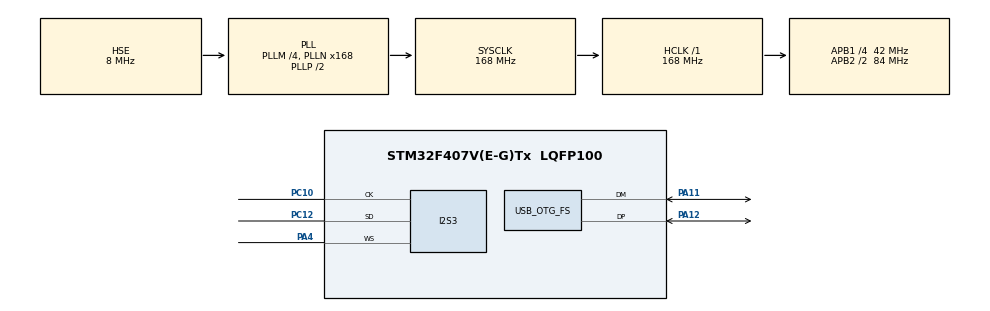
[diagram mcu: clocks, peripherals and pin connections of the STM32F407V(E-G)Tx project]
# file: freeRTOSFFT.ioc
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Dma.Request0=SPI3_RX
Dma.SPI3_RX.0.Direction=DMA_PERIPH_TO_MEMORY
Dma.SPI3_RX.0.FIFOMode=DMA_FIFOMODE_DISABLE
Dma.SPI3_RX.0.Instance=DMA1_Stream0
Dma.SPI3_RX.0.MemDataAlignment=DMA_MDATAALIGN_WORD
Dma.SPI3_RX.0.MemInc=DMA_MINC_ENABLE
Dma.SPI3_RX.0.Mode=DMA_CIRCULAR
Dma.SPI3_RX.0.PeriphDataAlignment=DMA_PDATAALIGN_WORD
Dma.SPI3_RX.0.PeriphInc=DMA_PINC_DISABLE
Dma.SPI3_RX.0.Priority=DMA_PRIORITY_LOW
FREERTOS.HEAP_NUMBER=4
FREERTOS.Queues01=datasetFlow,1024,float32_t,0,Dynamic,NULL,NULL
FREERTOS.Tasks01=dataSend,24,128,StartDataSend,Default,NULL,Dynamic,NULL,NULL;procFFT,24,1024,StartFFT,Default,NULL,Dynamic,NULL,NULL;dataGet,24,1024,StartGet,Default,NULL,Dynamic,NULL,NULL
FREERTOS.configENABLE_FPU=1
FREERTOS.configTICK_RATE_HZ=100
FREERTOS.configTOTAL_HEAP_SIZE=64000
FREERTOS.configUSE_NEWLIB_REENTRANT=1
FREERTOS.configUSE_PREEMPTION=0
I2S3.AudioFreq=I2S_AUDIOFREQ_32K
I2S3.DataFormat=I2S_DATAFORMAT_24B
I2S3.ErrorAudioFreq=1.72 %
I2S3.FullDuplexMode=I2S_FULLDUPLEXMODE_DISABLE
I2S3.Instance=SPI$Index
I2S3.Mode=I2S_MODE_MASTER_RX
I2S3.RealAudioFreq=32.552 KHz
I2S3.VirtualMode=I2S_MODE_MASTER
Mcu.Family=STM32F4
Mcu.Name=STM32F407V(E-G)Tx
Mcu.Package=LQFP100
NVIC.DMA1_Stream0_IRQn=true\:5\:0\:false\:false\:true\:true\:true\:true\:true
NVIC.OTG_FS_IRQn=true\:5\:0\:false\:false\:true\:true\:false\:true\:true
NVIC.PriorityGroup=NVIC_PRIORITYGROUP_4
NVIC.TIM1_UP_TIM10_IRQn=true\:15\:0\:false\:false\:true\:false\:false\:true\:true
NVIC.TimeBase=TIM1_UP_TIM10_IRQn
NVIC.TimeBaseIP=TIM1
PA11.Mode=Device_Only
PA11.Signal=USB_OTG_FS_DM
PA12.Mode=Device_Only
PA12.Signal=USB_OTG_FS_DP
PA4.Mode=Half_Duplex_Master
PA4.Signal=I2S3_WS
PC10.Mode=Half_Duplex_Master
PC10.Signal=I2S3_CK
PC12.Mode=Half_Duplex_Master
PC12.Signal=I2S3_SD
PH0-OSC_IN.Mode=HSE-External-Oscillator
PH0-OSC_IN.Signal=RCC_OSC_IN
PH1-OSC_OUT.Mode=HSE-External-Oscillator
PH1-OSC_OUT.Signal=RCC_OSC_OUT
ProjectManager.HeapSize=0x200
ProjectManager.StackSize=0x400
ProjectManager.TargetToolchain=STM32CubeIDE
RCC.48MHZClocksFreq_Value=48000000
RCC.AHBFreq_Value=168000000
RCC.APB1CLKDivider=RCC_HCLK_DIV4
RCC.APB1Freq_Value=42000000
RCC.APB1TimFreq_Value=84000000
RCC.APB2CLKDivider=RCC_HCLK_DIV2
RCC.APB2Freq_Value=84000000
RCC.APB2TimFreq_Value=168000000
RCC.CortexFreq_Value=168000000
RCC.HCLKFreq_Value=168000000
RCC.HSE_VALUE=8000000
RCC.HSI_VALUE=16000000
RCC.LSE_VALUE=32768
RCC.PLLI2SN=50
RCC.PLLM=4
RCC.PLLN=168
RCC.PLLQ=7
RCC.SYSCLKFreq_VALUE=168000000
RCC.SYSCLKSource=RCC_SYSCLKSOURCE_PLLCLK
RCC.VCOOutputFreq_Value=336000000
USB_DEVICE.CLASS_NAME_FS=CDC
USB_DEVICE.VirtualMode-CDC_FS=Cdc
USB_DEVICE.VirtualModeFS=Cdc_FS
USB_OTG_FS.VirtualMode=Device_Only
VP_FREERTOS_VS_CMSIS_V2.Mode=CMSIS_V2
VP_SYS_VS_tim1.Mode=TIM1
VP_USB_DEVICE_VS_USB_DEVICE_CDC_FS.Mode=CDC_FS
board=custom

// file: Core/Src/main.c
/* USER CODE BEGIN Header */
/**
  ******************************************************************************
  * @file           : main.c
  * @brief          : Main program body
  ******************************************************************************
  * @attention
  *
  * Copyright (c) 2023 STMicroelectronics.
  * All rights reserved.
  *
  * This software is licensed under terms that can be found in the LICENSE file
  * in the root directory of this software component.
  * If no LICENSE file comes with this software, it is provided AS-IS.
  *
  ******************************************************************************
  */
/* USER CODE END Header */
#include "main.h"
#include "cmsis_os.h"
#include "usb_device.h"

/* USER CODE BEGIN Includes */
#include "arm_math.h"
/* USER CODE END Includes */

/* USER CODE BEGIN PD */
#define FFT_SIZE 1024
/* USER CODE END PD */

 I2S_HandleTypeDef hi2s3;
DMA_HandleTypeDef hdma_spi3_rx;
/* Definitions for procFFT */
osThreadId_t procFFTHandle;
const osThreadAttr_t procFFT_attributes = {
  .name = "procFFT",
  .stack_size = 1024 * 4,
  .priority = (osPriority_t) osPriorityNormal,
};
/* Definitions for dataGet */
osThreadId_t dataGetHandle;
const osThreadAttr_t dataGet_attributes = {
  .name = "dataGet",
  .stack_size = 1024 * 4,
  .priority = (osPriority_t) osPriorityNormal,
};
/* Definitions for datasetFlow */
osMessageQueueId_t datasetFlowHandle;
const osMessageQueueAttr_t datasetFlow_attributes = {
  .name = "datasetFlow"
};
/* USER CODE BEGIN PV */
//Буферные массивы хранения выборок
int32_t bufInput[FFT_SIZE*4] = {0};
int32_t bufCopy[FFT_SIZE*4] = {0};
float32_t bufDataset[FFT_SIZE] = {0};
float32_t bufFFTRes[FFT_SIZE] = {0};
//Флаг готовности выборки
int DMAFlag = -1;
//Передаваемый массив
uint8_t bufRes[FFT_SIZE/2] = {0};
//Маркировка начала сообщения
uint8_t marker[4] = {0};
/* USER CODE END PV */

void SystemClock_Config(void);
static void MX_GPIO_Init(void);
static void MX_I2S3_Init(void);
static void MX_DMA_Init(void);
void StartDataSend(void *argument);
void StartFFT(void *argument);
void StartGet(void *argument);

//Функция приёма выборки по обратному вызову контроллера DMA
void HAL_I2S_RxCpltCallback(I2S_HandleTypeDef *hi2s){
	if(hi2s == &hi2s3){
		HAL_NVIC_DisableIRQ(DMA1_Stream0_IRQn);	//Отключение прерывания DMA
		memcpy(&bufCopy, &bufInput, 16384);		//Защита от повреждения данных
		DMAFlag = 1;							//Установка флага готовности данных
	}
}
//Функция преобразования выборки данных микрофона
void makeDataset(int* input, float* output, size_t size){
	int temp;
	for(size_t i = 0; i < size ;i += 4){
		temp = (input[i]<<8)+(input[i+1]);
		if(temp & 0x80000000){
			output[i/4] = (float)(0xff000000|temp);
		}else{
			output[i/4] = (float)temp;
		}
	}
}

int main(void)
{

  /* MCU Configuration--------------------------------------------------------*/

  /* Reset of all peripherals, Initializes the Flash interface and the Systick. */
  HAL_Init();

  /* Configure the system clock */
  SystemClock_Config();

  /* Initialize all configured peripherals */
  MX_GPIO_Init();
  MX_DMA_Init();
  MX_I2S3_Init();
  /* USER CODE BEGIN 2 */
  MX_USB_DEVICE_Init();
  HAL_I2S_Receive_DMA(&hi2s3, (uint16_t*)bufInput, FFT_SIZE*2);
  /* USER CODE END 2 */

  /* Init scheduler */
  osKernelInitialize();
  /* Create the queue(s) */
  /* creation of datasetFlow */
  datasetFlowHandle = osMessageQueueNew (1024, sizeof(float32_t), &datasetFlow_attributes);

  /* Create the thread(s) */
  /* creation of procFFT */
  procFFTHandle = osThreadNew(StartFFT, NULL, &procFFT_attributes);

  /* creation of dataGet */
  dataGetHandle = osThreadNew(StartGet, NULL, &dataGet_attributes);

  /* Start scheduler */
  osKernelStart();
}

void SystemClock_Config(void)
{
  RCC_OscInitTypeDef RCC_OscInitStruct = {0};
  RCC_ClkInitTypeDef RCC_ClkInitStruct = {0};

  /** Configure the main internal regulator output voltage
  */
  __HAL_RCC_PWR_CLK_ENABLE();
  __HAL_PWR_VOLTAGESCALING_CONFIG(PWR_REGULATOR_VOLTAGE_SCALE1);

  /** Initializes the RCC Oscillators according to the specified parameters
  * in the RCC_OscInitTypeDef structure.
  */
  RCC_OscInitStruct.OscillatorType = RCC_OSCILLATORTYPE_HSE;
  RCC_OscInitStruct.HSEState = RCC_HSE_ON;
  RCC_OscInitStruct.PLL.PLLState = RCC_PLL_ON;
  RCC_OscInitStruct.PLL.PLLSource = RCC_PLLSOURCE_HSE;
  RCC_OscInitStruct.PLL.PLLM = 4;
  RCC_OscInitStruct.PLL.PLLN = 168;
  RCC_OscInitStruct.PLL.PLLP = RCC_PLLP_DIV2;
  RCC_OscInitStruct.PLL.PLLQ = 7;
  if (HAL_RCC_OscConfig(&RCC_OscInitStruct) != HAL_OK)
  {
    Error_Handler();
  }

  /** Initializes the CPU, AHB and APB buses clocks
  */
  RCC_ClkInitStruct.ClockType = RCC_CLOCKTYPE_HCLK|RCC_CLOCKTYPE_SYSCLK
                              |RCC_CLOCKTYPE_PCLK1|RCC_CLOCKTYPE_PCLK2;
  RCC_ClkInitStruct.SYSCLKSource = RCC_SYSCLKSOURCE_PLLCLK;
  RCC_ClkInitStruct.AHBCLKDivider = RCC_SYSCLK_DIV1;
  RCC_ClkInitStruct.APB1CLKDivider = RCC_HCLK_DIV4;
  RCC_ClkInitStruct.APB2CLKDivider = RCC_HCLK_DIV2;

  if (HAL_RCC_ClockConfig(&RCC_ClkInitStruct, FLASH_LATENCY_5) != HAL_OK)
  {
    Error_Handler();
  }
}

static void MX_I2S3_Init(void)
{

  hi2s3.Instance = SPI3;
  hi2s3.Init.Mode = I2S_MODE_MASTER_RX;
  hi2s3.Init.Standard = I2S_STANDARD_PHILIPS;
  hi2s3.Init.DataFormat = I2S_DATAFORMAT_24B;
  hi2s3.Init.MCLKOutput = I2S_MCLKOUTPUT_DISABLE;
  hi2s3.Init.AudioFreq = I2S_AUDIOFREQ_32K;
  hi2s3.Init.CPOL = I2S_CPOL_LOW;
  hi2s3.Init.ClockSource = I2S_CLOCK_PLL;
  hi2s3.Init.FullDuplexMode = I2S_FULLDUPLEXMODE_DISABLE;
  if (HAL_I2S_Init(&hi2s3) != HAL_OK)
  {
    Error_Handler();
  }

}

static void MX_DMA_Init(void)
{

  /* DMA controller clock enable */
  __HAL_RCC_DMA1_CLK_ENABLE();

  /* DMA interrupt init */
  /* DMA1_Stream0_IRQn interrupt configuration */
  HAL_NVIC_SetPriority(DMA1_Stream0_IRQn, 5, 0);
  HAL_NVIC_EnableIRQ(DMA1_Stream0_IRQn);

}

static void MX_GPIO_Init(void)
{

  /* GPIO Ports Clock Enable */
  __HAL_RCC_GPIOH_CLK_ENABLE();
  __HAL_RCC_GPIOA_CLK_ENABLE();
  __HAL_RCC_GPIOC_CLK_ENABLE();

}

void StartFFT(void *argument)
{
  /* USER CODE BEGIN StartFFT */
	//Блок инициализации БПФ
	arm_rfft_fast_instance_f32 S;
	arm_rfft_fast_init_f32(&S, FFT_SIZE);
  /* Infinite loop */
  for(;;)
  {
	  //Блок получения выборки посредством очереди
	  osMessageQueueGet(datasetFlowHandle, &bufDataset, 0, osWaitForever);
	  //Блок преобразования данных БПФ
	  arm_rfft_fast_f32(&S, &bufDataset, &bufFFTRes, 0);	//Функция возвращает массив комплексных чисел
	  arm_cmplx_mag_f32(&bufFFTRes, &bufFFTRes, FFT_SIZE);	//Преобразование комплексных чисел в амплитуды
	  //Блок передачи данных на устройство обработки
	  CDC_Transmit_FS((uint8_t*)bufFFTRes, FFT_SIZE*2);		//Передача массива значений амплитуд
	  CDC_Transmit_FS((uint8_t*)marker, 4);					//Последовательность завершения передачи
	  //Вызов планировщика
	  taskYIELD();
  }
  /* USER CODE END StartFFT */
}

void StartGet(void *argument)
{
  /* USER CODE BEGIN StartGet */

  /* Infinite loop */
  for(;;)
  {
	  // enable interrupts
	  //Разрешение прерывания ПДП
	  HAL_NVIC_EnableIRQ(DMA1_Stream0_IRQn);
	  //Блок ожидания получения данных
	  if(DMAFlag == 1){
		  DMAFlag = 0;
		  //Формирование выборки
		  makeDataset(&bufCopy, &bufDataset, FFT_SIZE*4);
		  //Загрузка выборки в очередь
		  osMessageQueuePut(datasetFlowHandle, &bufDataset, 0, osWaitForever);
		  //Вызов планировщика
		  taskYIELD();
	  }
  }
  /* USER CODE END StartGet */
}

void HAL_TIM_PeriodElapsedCallback(TIM_HandleTypeDef *htim)
{
  if (htim->Instance == TIM1) {
    HAL_IncTick();
  }
}

void Error_Handler(void)
{
  __disable_irq();
  while (1)
  {
  }
}
